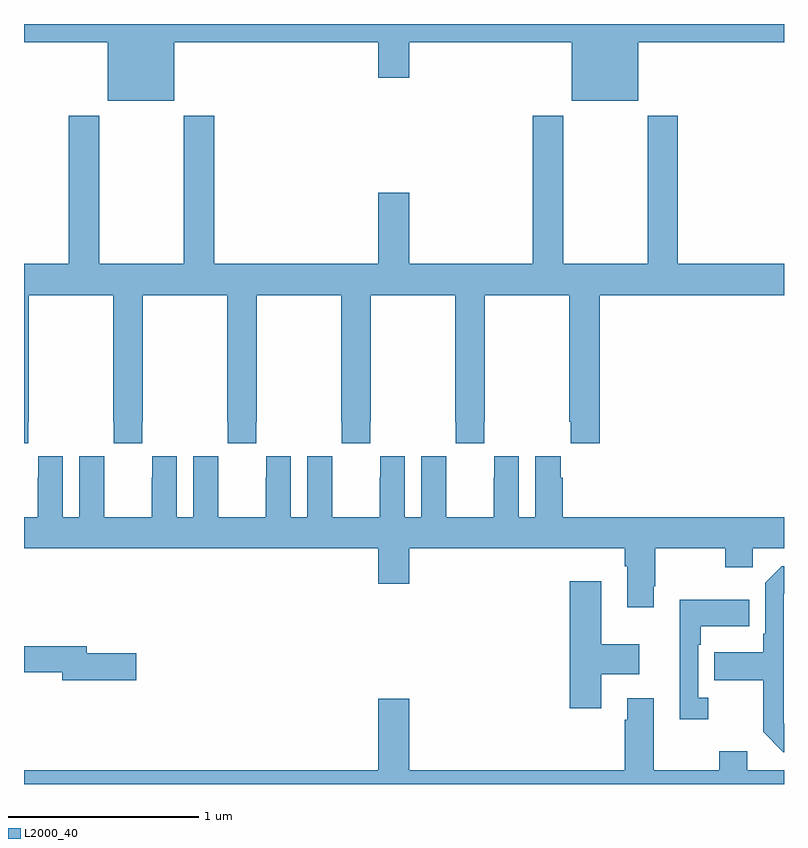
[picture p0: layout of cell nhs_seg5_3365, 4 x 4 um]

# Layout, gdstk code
import gdstk
lib = gdstk.Library(unit=1e-6, precision=1e-09)
def P(c, l, *ps):  # polygons
    for p in ps: c.add(gdstk.Polygon(p, *l))
L2000_40 = (2000, 40)

nhs_seg5_3365 = lib.new_cell('nhs_seg5_3365')
P(nhs_seg5_3365, L2000_40, [(307.792,912.704),(308.864,912.704),(308.864,912.516),(309.028,912.516),(309.028,912.704),(309.884,912.704),(309.884,912.395),(310.234,912.395),(310.234,912.704),(311,912.704),(311,912.799),(307,912.799),(307,912.704),(307.442,912.704),(307.442,912.395),(307.792,912.395)],
  [(308,912.316),(307.84,912.316),(307.84,911.536),(307.395,911.536),(307.395,912.316),(307.235,912.316),(307.235,911.536),(307,911.536),(307,910.593),(307.023,910.593),(307.023,910.705),(307.026,910.705),(307.026,911.372),(307.471,911.372),(307.471,910.705),(307.473,910.705),(307.473,910.593),(307.623,910.593),(307.623,910.705),(307.626,910.705),(307.626,911.372),(308.071,911.372),(308.071,910.705),(308.073,910.705),(308.073,910.593),(308.223,910.593),(308.223,910.705),(308.226,910.705),(308.226,911.372),(308.671,911.372),(308.671,910.705),(308.673,910.705),(308.673,910.593),(308.823,910.593),(308.823,910.705),(308.826,910.705),(308.826,911.372),(309.271,911.372),(309.271,910.705),(309.273,910.705),(309.273,910.593),(309.423,910.593),(309.423,910.705),(309.426,910.705),(309.426,911.372),(309.871,911.372),(309.871,910.705),(309.877,910.705),(309.877,910.593),(310.031,910.593),(310.031,911.372),(311,911.372),(311,911.536),(310.442,911.536),(310.442,912.316),(310.282,912.316),(310.282,911.536),(309.837,911.536),(309.837,912.316),(309.677,912.316),(309.677,911.536),(309.028,911.536),(309.028,911.911),(308.864,911.911),(308.864,911.536),(308,911.536)],
  [(310.315,909.841),(310.323,909.841),(310.323,910.04),(310.69,910.04),(310.69,909.941),(310.836,909.941),(310.836,910.04),(311,910.04),(311,910.204),(309.836,910.204),(309.836,910.412),(309.826,910.412),(309.826,910.525),(309.692,910.525),(309.692,910.204),(309.604,910.204),(309.604,910.525),(309.474,910.525),(309.474,910.412),(309.473,910.412),(309.473,910.204),(309.223,910.204),(309.223,910.412),(309.222,910.412),(309.222,910.525),(309.092,910.525),(309.092,910.204),(309.004,910.204),(309.004,910.525),(308.874,910.525),(308.874,910.412),(308.873,910.412),(308.873,910.204),(308.623,910.204),(308.623,910.412),(308.622,910.412),(308.622,910.525),(308.492,910.525),(308.492,910.204),(308.404,910.204),(308.404,910.525),(308.274,910.525),(308.274,910.412),(308.273,910.412),(308.273,910.204),(308.023,910.204),(308.023,910.412),(308.022,910.412),(308.022,910.525),(307.892,910.525),(307.892,910.204),(307.804,910.204),(307.804,910.525),(307.674,910.525),(307.674,910.412),(307.673,910.412),(307.673,910.204),(307.423,910.204),(307.423,910.412),(307.422,910.412),(307.422,910.525),(307.292,910.525),(307.292,910.204),(307.204,910.204),(307.204,910.525),(307.074,910.525),(307.074,910.412),(307.073,910.412),(307.073,910.204),(307,910.204),(307,910.04),(308.864,910.04),(308.864,909.852),(309.028,909.852),(309.028,910.04),(310.163,910.04),(310.163,909.944),(310.175,909.944),(310.175,909.729),(310.315,909.729)],
  [(311,909.115),(310.998,909.117),(310.998,909.798),(311,909.8),(311,909.945),(310.989,909.945),(310.902,909.858),(310.902,909.589),(310.89,909.589),(310.89,909.493),(310.633,909.493),(310.633,909.346),(310.89,909.346),(310.89,909.073),(310.995,908.967),(311,908.967)],
  [(310.039,909.377),(310.237,909.377),(310.237,909.535),(310.039,909.535),(310.039,909.865),(309.872,909.865),(309.872,909.198),(310.039,909.198)],
  [(310.6,909.254),(310.548,909.254),(310.548,909.533),(310.561,909.533),(310.561,909.629),(310.817,909.629),(310.817,909.769),(310.451,909.769),(310.451,909.141),(310.6,909.141)],
  [(307.591,909.488),(307.33,909.488),(307.33,909.524),(307,909.524),(307,909.388),(307.202,909.388),(307.202,909.346),(307.591,909.346)],
  [(311,908.872),(310.807,908.872),(310.807,908.971),(310.66,908.971),(310.66,908.872),(310.315,908.872),(310.315,909.25),(310.175,909.25),(310.175,909.137),(310.163,909.137),(310.163,908.872),(309.028,908.872),(309.028,909.247),(308.864,909.247),(308.864,908.872),(307,908.872),(307,908.799),(311,908.799)])

lib.write_gds('nhs_seg5_3365.gds')
